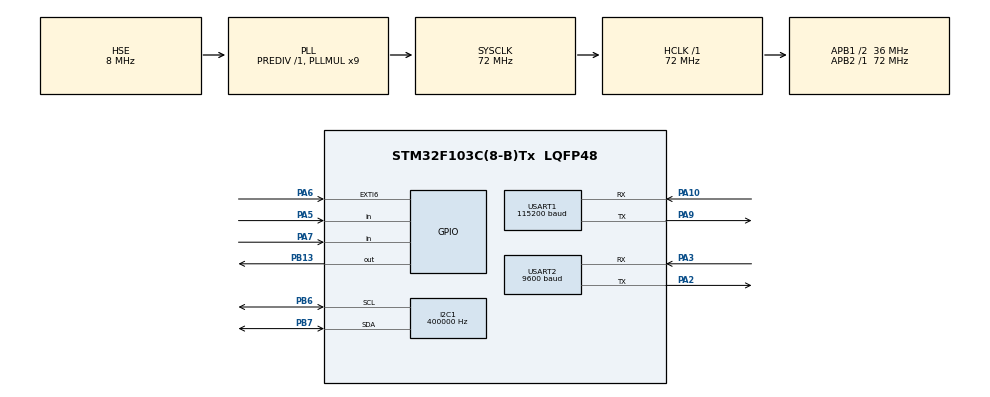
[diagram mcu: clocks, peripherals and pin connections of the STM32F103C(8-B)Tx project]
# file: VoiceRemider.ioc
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I2C1.ClockSpeed=400000
I2C1.I2C_Mode=I2C_Fast
Mcu.Family=STM32F1
Mcu.Name=STM32F103C(8-B)Tx
Mcu.Package=LQFP48
NVIC.EXTI9_5_IRQn=true\:0\:0\:false\:false\:true\:true\:true\:true
NVIC.PriorityGroup=NVIC_PRIORITYGROUP_4
NVIC.TIM3_IRQn=true\:0\:0\:false\:false\:true\:true\:true\:true
PA10.Mode=Asynchronous
PA10.Signal=USART1_RX
PA13.Mode=JTAG_5_pins
PA13.Signal=SYS_JTMS-SWDIO
PA14.Mode=JTAG_5_pins
PA14.Signal=SYS_JTCK-SWCLK
PA15.Mode=JTAG_5_pins
PA15.Signal=SYS_JTDI
PA2.Mode=Asynchronous
PA2.Signal=USART2_TX
PA3.Mode=Asynchronous
PA3.Signal=USART2_RX
PA5.Signal=GPIO_Input
PA6.GPIO_ModeDefaultEXTI=GPIO_MODE_IT_RISING_FALLING
PA6.Signal=GPXTI6
PA7.Signal=GPIO_Input
PA9.Mode=Asynchronous
PA9.Signal=USART1_TX
PB13.Signal=GPIO_Output
PB3.Mode=JTAG_5_pins
PB3.Signal=SYS_JTDO-TRACESWO
PB4.Mode=JTAG_5_pins
PB4.Signal=SYS_NJTRST
PB6.Mode=I2C
PB6.Signal=I2C1_SCL
PB7.Mode=I2C
PB7.Signal=I2C1_SDA
PD0-OSC_IN.Mode=HSE-External-Oscillator
PD0-OSC_IN.Signal=RCC_OSC_IN
PD1-OSC_OUT.Mode=HSE-External-Oscillator
PD1-OSC_OUT.Signal=RCC_OSC_OUT
ProjectManager.HeapSize=0x200
ProjectManager.StackSize=0x400
ProjectManager.TargetToolchain=MDK-ARM V5.32
RCC.AHBFreq_Value=72000000
RCC.APB1CLKDivider=RCC_HCLK_DIV2
RCC.APB1Freq_Value=36000000
RCC.APB1TimFreq_Value=72000000
RCC.APB2Freq_Value=72000000
RCC.APB2TimFreq_Value=72000000
RCC.HCLKFreq_Value=72000000
RCC.PLLMUL=RCC_PLL_MUL9
RCC.PLLSourceVirtual=RCC_PLLSOURCE_HSE
RCC.SYSCLKFreq_VALUE=72000000
RCC.SYSCLKSource=RCC_SYSCLKSOURCE_PLLCLK
RCC.USBFreq_Value=72000000
TIM3.Period=49
TIM3.Prescaler=1439
USART1.BaudRate=115200
USART1.VirtualMode=VM_ASYNC
USART2.BaudRate=9600
USART2.VirtualMode=VM_ASYNC
VP_TIM3_VS_ClockSourceINT.Mode=Internal
board=custom

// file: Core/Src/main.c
/* USER CODE BEGIN Header */
/**
  ******************************************************************************
  * @file           : main.c
  * @brief          : Main program body
  ******************************************************************************
  * @attention
  *
  * Copyright (c) 2022 STMicroelectronics.
  * All rights reserved.
  *
  * This software is licensed under terms that can be found in the LICENSE file
  * in the root directory of this software component.
  * If no LICENSE file comes with this software, it is provided AS-IS.
  *
  ******************************************************************************
  */
/* USER CODE END Header */
#include "main.h"
#include "i2c.h"
#include "tim.h"
#include "usart.h"
#include "gpio.h"

/* USER CODE BEGIN Includes */
//#include "oled_i2c.h"
#include "pcf8563.h"
#include <stdio.h>
#include <string.h>
#include "common.h"
//#include "time.h"
//#include "util.h"
#include "oled_driver.h"
//#include "gui_log_console.h"
/* USER CODE END Includes */

void SystemClock_Config(void);
/* USER CODE BEGIN PFP */
void c_loop(void);
void test_loop(void);
/* USER CODE END PFP */

/* USER CODE BEGIN 0 */

extern unsigned char g8563_Store[6];
unsigned char now_sec;
char time_str[25];
/* USER CODE END 0 */

int main(void)
{
  /* USER CODE BEGIN 1 */
	//int i = 0;
  /* USER CODE END 1 */

  /* MCU Configuration--------------------------------------------------------*/

  /* Reset of all peripherals, Initializes the Flash interface and the Systick. */

  HAL_Init();

  /* Configure the system clock */
  SystemClock_Config();

  /* USER CODE BEGIN SysInit */
	driverInfo_P = (driverInfo_s *)malloc(sizeof(driverInfo_s));
  if(driverInfo_P == NULL)
    while(1);//Todo:
	flashCont = (driverInfo_s *)malloc(sizeof(driverInfo_s));
	if(flashCont == NULL)
		while(1);//Todo:
  /* USER CODE END SysInit */

  /* Initialize all configured peripherals */
  MX_GPIO_Init();
  MX_USART1_UART_Init();
  MX_I2C1_Init();
  MX_USART2_UART_Init();
  MX_TIM3_Init();
  /* USER CODE BEGIN 2 */
	OLED_Init();
	//pcf8563_init();
	pcf8563_gettime();

	console_log(500,"init_OLED: OK");
	console_log(10,"--- welcome !---");
	console_log(10,"  _   _    _    ");
	console_log(10," | | | |  |_|   ");
	console_log(10," | |_| |   _    ");
	console_log(10," |  _  |  | |   ");
	console_log(10," | | | |  | |   ");
	console_log(10," |_| |_|  |_|   ");
	console_log(10,"                ");
	milliseconds=0;

	memset(&oledBuffer, 0x00, FRAME_BUFFER_SIZE);
	appconfig_init();
	alarm_init();              //无法储存闹钟，每次重启以后需要自定义
	Set_PCF8563_date();
	pwrmgr_init();
	console_log(500,"START !");
	display_set(watchface_normal);
	display_load();//启动表盘

  /* USER CODE END 2 */

  /* Infinite loop */
  /* USER CODE BEGIN WHILE */
  playSound("/MAIN*/01", true);
  while (1)
  {
		c_loop(); //循环test_loop();
		//test_loop();
    /* USER CODE END WHILE */

    /* USER CODE BEGIN 3 */
//		pcf8563_gettime();
//		if(now_sec != g8563_Store[0])
//		{
//			sprintf(time_str,"20%d/%02d/%02d",g8563_Store[5],g8563_Store[4],g8563_Store[3]);
//			//OLED_ShowStr(0,3  ,(unsigned char*)time_str,2);//测试8*16字符
//			sprintf(time_str,"%02d:%02d:%02d", g8563_Store[2],g8563_Store[1],g8563_Store[0]);
//			//OLED_ShowStr(0,5  ,(unsigned char*)time_str,2);//测试8*16字符
//			now_sec = g8563_Store[0];
//		}
  }
  /* USER CODE END 3 */
}

void SystemClock_Config(void)
{
  RCC_OscInitTypeDef RCC_OscInitStruct = {0};
  RCC_ClkInitTypeDef RCC_ClkInitStruct = {0};

  /** Initializes the RCC Oscillators according to the specified parameters
  * in the RCC_OscInitTypeDef structure.
  */
  RCC_OscInitStruct.OscillatorType = RCC_OSCILLATORTYPE_HSE;
  RCC_OscInitStruct.HSEState = RCC_HSE_ON;
  RCC_OscInitStruct.HSEPredivValue = RCC_HSE_PREDIV_DIV1;
  RCC_OscInitStruct.HSIState = RCC_HSI_ON;
  RCC_OscInitStruct.PLL.PLLState = RCC_PLL_ON;
  RCC_OscInitStruct.PLL.PLLSource = RCC_PLLSOURCE_HSE;
  RCC_OscInitStruct.PLL.PLLMUL = RCC_PLL_MUL9;
  if (HAL_RCC_OscConfig(&RCC_OscInitStruct) != HAL_OK)
  {
    Error_Handler();
  }

  /** Initializes the CPU, AHB and APB buses clocks
  */
  RCC_ClkInitStruct.ClockType = RCC_CLOCKTYPE_HCLK|RCC_CLOCKTYPE_SYSCLK
                              |RCC_CLOCKTYPE_PCLK1|RCC_CLOCKTYPE_PCLK2;
  RCC_ClkInitStruct.SYSCLKSource = RCC_SYSCLKSOURCE_PLLCLK;
  RCC_ClkInitStruct.AHBCLKDivider = RCC_SYSCLK_DIV1;
  RCC_ClkInitStruct.APB1CLKDivider = RCC_HCLK_DIV2;
  RCC_ClkInitStruct.APB2CLKDivider = RCC_HCLK_DIV1;

  if (HAL_RCC_ClockConfig(&RCC_ClkInitStruct, FLASH_LATENCY_2) != HAL_OK)
  {
    Error_Handler();
  }
}

/* USER CODE BEGIN 4 */
void c_loop()
{
	time_update();
	if(pwrmgr_userActive())
	{
		//battery_update();
		buttons_update();
	}

//////	mpu_updata();

//////	buzzer_update();
//////	led_update();

//#if COMPILE_STOPWATCH
//	stopwatch_update();
//#endif
//////  global_update();

	if(pwrmgr_userActive())
	{
////		alarm_update();
		display_update();
	}
//////	if(bme_enable)
//////		bme_update();
//////	pwrmgr_update();
//显示完成后清除缓冲区
	memset(&oledBuffer, 0x00, FRAME_BUFFER_SIZE);
}

void test_loop()
{

	display_test();

	memset(&oledBuffer, 0x00, FRAME_BUFFER_SIZE);
}

extern volatile uint8_t dir_flag, beep_flag, key_click_flag;
extern int32_t test_num;
int32_t test_ts = 0;

void HAL_GPIO_EXTI_Callback(uint16_t GPIO_Pin)
{
  /* Prevent unused argument(s) compilation warning */
  UNUSED(GPIO_Pin);
  static uint8_t count = 0;
  static uint8_t b_flag;
  GPIO_PinState a_value = HAL_GPIO_ReadPin(GPIOA, GPIO_PIN_6);//
  GPIO_PinState b_value = HAL_GPIO_ReadPin(GPIOA, GPIO_PIN_5);
	//GPIO_PinState c_value = HAL_GPIO_ReadPin(GPIOA, GPIO_PIN_7);

  if(GPIO_Pin == GPIO_PIN_6){
    if(a_value == RESET && count == 0){
			b_flag = 0;
			if(b_value) b_flag = 1;
				count = 1;
		}

		if(a_value == SET && count == 1){
			if(b_value == RESET && b_flag ==1){
				test_num--;		//逆时针
				dir_flag = 1;
				beep_flag = 1;
			}
			if(b_value && b_flag == 0){
				test_num++;		//顺时针
				dir_flag = 0;
				beep_flag = 1;
			}
			count = 0;
		}
  }

//  /* 按键中断 */
//	static millis8_t lastPress; // Time of last draw

//	// Limit frame rate
//	millis8_t nowPress = millis();
//	if((millis8_t)(now - lastPress) < timesss)
//	{
//		//pwrmgr_setState(PWR_ACTIVE_DISPLAY, PWR_STATE_IDLE);
//		return;
//	}
//	lastPress = now;
//
//
//  if(GPIO_Pin == GPIO_PIN_7){
//			key_click_flag = 1;
//  }
}
/* USER CODE END 4 */

void Error_Handler(void)
{
  __disable_irq();
  while (1)
  {
  }
}
